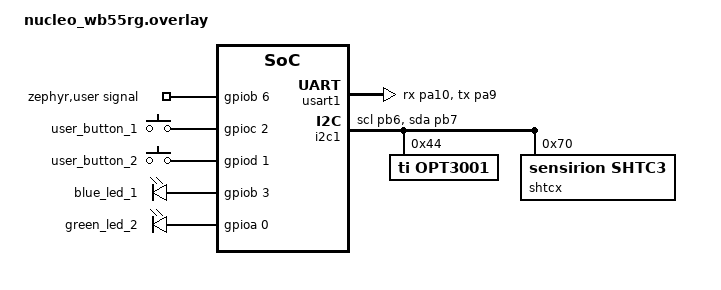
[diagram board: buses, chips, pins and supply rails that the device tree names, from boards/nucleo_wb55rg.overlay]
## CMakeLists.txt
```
#
# Copyright (c) 2023 Nordic Semiconductor ASA
#
# SPDX-License-Identifier: Apache-2.0

cmake_minimum_required(VERSION 3.20.0)

find_package(Zephyr REQUIRED HINTS $ENV{ZEPHYR_BASE})
project(bthome_sensor_demo)

FILE(GLOB app_sources src/*.c)
add_subdirectory(../lib lib)
target_sources(app PRIVATE ${app_sources})
```

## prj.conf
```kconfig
#
# Copyright (c) 2023 Nordic Semiconductor ASA
#
# SPDX-License-Identifier: Apache-2.0
#
CONFIG_BT=y
CONFIG_BT_PERIPHERAL=n
CONFIG_BT_BROADCASTER=y
CONFIG_BT_DEVICE_NAME="BTH iot alarm"
CONFIG_LOG=y

#CONFIG_BT_EXT_ADV=y
#CONFIG_BT_PER_ADV=y

#CONFIG_BT_HCI_ACL_FLOW_CONTROL=y
#CONFIG_BT_EXT_ADV=y
#^ breaks BLE w/ STM32wb55

CONFIG_SENSOR=y
CONFIG_I2C=y
CONFIG_GPIO=y
CONFIG_SENSOR_LOG_LEVEL_DBG=y

#CONFIG_PM_DEVICE=y
CONFIG_PM=y
#CONFIG_PM_DEVICE=y
#CONFIG_PM_DEVICE_RUNTIME=y
#CONFIG_PM_DEVICE_RUNTIME_EXCLUSIVE=n
CONFIG_ASSERT=y
CONFIG_POWEROFF=y

CONFIG_STDOUT_CONSOLE=y
CONFIG_CBPRINTF_FP_SUPPORT=y
```

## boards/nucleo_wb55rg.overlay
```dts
&pinctrl {
    usart1_rx_pa10: usart1_rx_pa10 {
        pinmux = < STM32_PINMUX('A', 10, AF7) >;
    };

    usart1_tx_pa9: usart1_tx_pa9 {
        pinmux = < STM32_PINMUX('A', 9, AF7) >;
    };
};

// usart 1 on PA9 and PA10
&usart1 {
    pinctrl-0 = <&usart1_rx_pa10 &usart1_tx_pa9>;
};

// i2c1 for sht
&i2c1 {
    pinctrl-0 = <&i2c1_scl_pb6 &i2c1_sda_pb7>;
    status = "okay";
    pinctrl-names = "default";
    
	opt3001: opt3001@44 {
		compatible = "ti,opt3001";
		reg = <0x44>;
	};
	shtcx: shtc3@70 {
      compatible = "sensirion,shtc3", "sensirion,shtcx";
      reg = <0x70>;
      measure-mode = "normal";
      clock-stretching;
   };
};

&gpioa {
	status = "okay";
};
&gpiob {
	status = "okay";
};
&gpioc {
	status = "okay";
};
&gpiod {
	status = "okay";
};

/ {
	zephyr,user {
		signal-gpios =  < &gpiob 6 GPIO_ACTIVE_HIGH >; // Test scl
	};

	aliases {
		buzzer = &green_led_2;
		statusled = &blue_led_1;
	};
};

// door 
&user_button_1 {
	gpios = < &gpioc 2 GPIO_ACTIVE_HIGH >; // Door uSwitch
};

&user_button_2 {
	gpios = < &gpiod 1 GPIO_ACTIVE_HIGH >; // CTRL Btn
};

&blue_led_1 {
	gpios = < &gpiob 3 GPIO_ACTIVE_HIGH >; // User LED
};

&green_led_2 {
	gpios = < &gpioa 0 GPIO_ACTIVE_HIGH >; // Buzzer
};
// TODO add VCC ADC...
```

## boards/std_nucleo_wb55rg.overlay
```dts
// i2c1 for sht
&i2c1 {
    pinctrl-0 = <&i2c1_scl_pb6 &i2c1_sda_pb7>;
    status = "okay";
    pinctrl-names = "default";
    
	opt3001: opt3001@44 {
		compatible = "ti,opt3001";
		reg = <0x44>;
	};
	shtcx: shtc3@70 {
      compatible = "sensirion,shtc3", "sensirion,shtcx";
      reg = <0x70>;
      measure-mode = "normal";
      clock-stretching;
   };
};

/ {
	zephyr,user {
		signal-gpios =  < &gpiob 6 GPIO_ACTIVE_HIGH >; // Test scl
	};


	aliases {
		buzzer = &green_led_2;
		statusled = &blue_led_1;
		
		led0 = &green_led_2;
		led1 = &blue_led_1;
		sw0 = &user_button_1;
		sw1 = &user_button_2;
		sw2 = &user_button_3;
		watchdog0 = &iwdg;
		die-temp0 = &die_temp;
		volt-sensor0 = &vref;
		volt-sensor1 = &vbat;
	};
	
};
```

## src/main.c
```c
/*
 * Copyright (c) 2023 Nordic Semiconductor ASA
 *
 * SPDX-License-Identifier: Apache-2.0
 */

#include "zephyr/dt-bindings/gpio/gpio.h"
#include "zephyr/sys/time_units.h"
#include <zephyr/device.h>
#include <zephyr/devicetree.h>
#include <zephyr/drivers/gpio.h>
#include <zephyr/drivers/i2c.h>
#include <zephyr/drivers/sensor.h>
#include <zephyr/kernel.h>

#include <zephyr/bluetooth/bluetooth.h>
#include <zephyr/bluetooth/gap.h>
#include <zephyr/bluetooth/uuid.h>

#include <button.h>
#include <blinker.h>

#include "fsm.h"

/*
 ***************************************************************************
 * Device tree definitions.
 ***************************************************************************
 */

#define SHTC_DEV DT_NODELABEL(shtcx)
#define DOOR DT_ALIAS(sw0)
#define CTRL DT_ALIAS(sw1)
#define STATUSLED DT_ALIAS(statusled)
#define BUZZER DT_ALIAS(buzzer)

// DeviceTree devices
const struct gpio_dt_spec buzzer = GPIO_DT_SPEC_GET(BUZZER, gpios);
const struct gpio_dt_spec led = GPIO_DT_SPEC_GET(STATUSLED, gpios);
const struct gpio_dt_spec door_sw = GPIO_DT_SPEC_GET(DOOR, gpios);
const struct gpio_dt_spec ctrl_sw = GPIO_DT_SPEC_GET(CTRL, gpios);
//const struct device *light = DEVICE_DT_GET(OPT3001_DEV);
const struct device *sht = DEVICE_DT_GET(SHTC_DEV);


/*
 ***************************************************************************
 * Bluetooth BtHome setup.
 * ref: https://bthome.io/format/
 ****************************************************************************
 */
#define SERVICE_DATA_LEN 11 /* 11 bytes of service data */
#define SERVICE_UUID 0xfcd2 /* BTHome service UUID */
#define IDX_TEMPL 4         /* Index of lo byte of temp in service data*/
#define IDX_TEMPH 5         /* Index of hi byte of temp in service data*/
#define IDX_HUMDL 7         /* Index of lo byte of humidity in service data*/
#define IDX_HUMDH 8         /* Index of hi byte of humidity in service data*/
#define IDX_DOOR  10         /* Index of door state */

static uint8_t service_data[SERVICE_DATA_LEN] = {
    BT_UUID_16_ENCODE(SERVICE_UUID),
    0x40,
    0x02, /* Temperature */
    0xc4, /* Low byte */
    0x00, /* High byte */
    0x03, /* Humidity */
    0xbf, /* low byte */
    0x13, /* high byte */
    0x1A, /* Door alarm */
    0x00, /* 0 = closed, 1 = open */
};

static const struct bt_data ad[] = {
    BT_DATA_BYTES(BT_DATA_FLAGS, BT_LE_AD_GENERAL | BT_LE_AD_NO_BREDR),
    BT_DATA(BT_DATA_NAME_COMPLETE, CONFIG_BT_DEVICE_NAME,
            sizeof(CONFIG_BT_DEVICE_NAME) - 1),
   BT_DATA(BT_DATA_SVC_DATA16,
            service_data, ARRAY_SIZE(service_data)),
};

/*
 #define ADV_PARAMS                                                             \
   BT_LE_ADV_PARAM(BT_LE_ADV_OPT_USE_NAME, BT_GAP_ADV_FAST_INT_MIN_2,          \
                    BT_GAP_ADV_FAST_INT_MAX_2, NULL)
*/


#define ADV_PARAMS BT_LE_ADV_PARAM(BT_LE_ADV_OPT_USE_IDENTITY, \
          BT_GAP_ADV_SLOW_INT_MIN, \
          BT_GAP_ADV_SLOW_INT_MAX, NULL)


/*
 ***************************************************************************
 * Contexts for buttons and blinkers.
 ****************************************************************************
 */

struct button_context door_sw_context;	// keep it alive !
struct button_context ctrl_sw_context;	// keep it alive !
struct blinker_context userled_blinker_context;	// keep it alive !
struct blinker_context buzzer_blinker_context;	// keep it alive !
struct blinker_context usertimer_context;	// keep it alive !

/*
 ***************************************************************************
 buttons and blinkers callbacks.
 ****************************************************************************
 */
static void userled_blink_event_handler(enum blinker_evt evt, long)
{
    gpio_pin_set_dt(&led, evt==BLINKER_EVT_ON ? 1 : 0);
}

static void buzzer_event_handler(enum blinker_evt evt, long)
{
    gpio_pin_set_dt(&buzzer, evt==BLINKER_EVT_ON ? 1 : 0);
}

// We use a blinker as a one-shot timer
static void user_timer_event_handler(enum blinker_evt evt, long)
{
    printk("user_timer_event_handler: %d\n", (int)evt);
    if (evt==BLINKER_EVT_OFF)
    {
        FSM_Timer();
    }
}

static void ctrl_button_event_handler(enum button_evt evt, long)
{
    printk("Ctrl Button event: %d\n", (int)evt);
    switch (evt)
    {
        case BUTTON_EVT_PRESSED:
            FSM_UserPress();
            break;
        case BUTTON_EVT_RELEASED:
            FSM_UserRelease();
            break;
    }
}

static void door_button_event_handler(enum button_evt evt, long)
{
    printk("Door Button event: %d\n", (int)evt);
    switch (evt)
    {
        case BUTTON_EVT_PRESSED:
            FSM_DoorClose();
            break;
        case BUTTON_EVT_RELEASED:            
            FSM_DoorOpen();
            break;
    }
}

/*
 ***************************************************************************
 * Bluetooth functions.
 ****************************************************************************
 */

void set_random_bt_address(void)
{
    bt_addr_le_t addr;

    addr.a.val[0] = 0xfd;
    addr.a.val[1] = 0xab;
    addr.a.val[2] = 0x55;
    addr.a.val[3] = 0xa7;
    addr.a.val[4] = 0x28;
    addr.a.val[5] = 0xf9;
    addr.type = BT_ADDR_LE_RANDOM;

	//BT_ADDR_SET_STATIC(&(addr.a));
 
    int err;

    printk("Set address.\n");

    err = bt_id_create(&addr, NULL);    // Change Identity->F9:28:A7:55:AB:FD (random)

    if (err) {
        printk("Error bt_id_create (err %d)\n", err);
    }

    printk("Random address set %d %x:%x:%x:%x:%x:%x\n", addr.type, addr.a.val[0], addr.a.val[1], addr.a.val[2], addr.a.val[3], addr.a.val[4], addr.a.val[5]);
}


/*
 ***************************************************************************
 * Main
 ****************************************************************************
 */
int main(void) {
    bool status_ok;

    printk("Hello !\n");
 
    // ----- Init Buzzer -----
    gpio_pin_configure_dt(&buzzer, GPIO_OUTPUT);

    // ----- Init LED -----
    gpio_pin_configure_dt(&led, GPIO_OUTPUT);

    // ----- Confirm buzzer and led
    gpio_pin_set_dt(&led, 1);
    gpio_pin_set_dt(&buzzer, 1);
    k_msleep(100);
    gpio_pin_set_dt(&buzzer, 0);
    gpio_pin_set_dt(&led, 0);
    k_msleep(100);

    // ----- Init userlink blink -----
    status_ok = blinker_init(
                &userled_blinker_context,
                userled_blink_event_handler,
                0);
    
    status_ok = blinker_init(
                &buzzer_blinker_context,
                buzzer_event_handler,
                0);

    // ----- We use a blinker in a monostable fashion as a timer -----
    status_ok = blinker_init(
                &usertimer_context,
                user_timer_event_handler,
                0);

    // ----- Init button -----
    status_ok = button_init(&door_sw_context,
                        &door_sw,
                        door_button_event_handler,
                        0,
                        0);

    if (!status_ok) {
        printk("Button 1 Init failed\n");
        return -1;
    }

    status_ok = button_init(&ctrl_sw_context,
                        &ctrl_sw,
                        ctrl_button_event_handler,
                        1,
                        GPIO_PULL_DOWN);

    if (!status_ok) {
        printk("Button 2 Init failed.\n");
        return -1;
    }

    // ----- SHT init -----
    if (!device_is_ready(sht)) {
        printk("Device %s is not ready\n", sht->name);

    } else {
        printk("Found device %s. Reading sensor data\n", sht->name);
    }
    
    // ----- BT init -----
    printk("CONFIG_BT_DEVICE_NAME: %s\n", CONFIG_BT_DEVICE_NAME);

    set_random_bt_address();

   	int err = bt_enable(NULL);
    if (err)
    {
        printk("Bluetooth init failed (err %d)\n", err);

        for (int i=0; i<5; ++i)
        {
            gpio_pin_set_dt(&buzzer, 1);
            k_msleep(100);
            gpio_pin_set_dt(&buzzer, 0);
            k_msleep(1000);
        }

        return 0;
    }
    
    printk("Bluetooth init done.\n");

    // ----- State machine init -----
    FSM_Init();

    // init buttons
    button_reset_state(&door_sw_context);
    button_reset_state(&ctrl_sw_context);

    // ----- Main loop -----
    int loop_count = 0;   // Sure to be called the first iteration.
    for (;;)
    {
        /* Get temp & humidity */
        struct sensor_value temp, hum;

        if (loop_count<=0 && device_is_ready(sht))
        {
            int err = sensor_sample_fetch(sht);
            if (err == 0)
            {
                err = sensor_channel_get(sht, SENSOR_CHAN_AMBIENT_TEMP,
                    &temp);
                if (err==0)
                {
                    err = sensor_channel_get(sht, SENSOR_CHAN_HUMIDITY,
                        &hum);
                }
            }
            if (err != 0)
            {
                printf("SHT: failed: %d\n", err);
            }
            else
            {
                double ftemp = sensor_value_to_double(&temp);
                double fhumd = sensor_value_to_double(&hum);
                // printf("SHT: %.2f Cel ; %0.2f %%RH\n", ftemp, fhumd);

                int temp_h = (int)(ftemp * 100) >> 8;
                int temp_l = (int)(ftemp * 100) & 0xff;
                int hum_h = (int)(fhumd * 100) >> 8;
                int hum_l = (int)(fhumd * 100) & 0xff;

                if (service_data[IDX_TEMPH] != temp_h
                    || service_data[IDX_TEMPL] != temp_l
                    || service_data[IDX_HUMDH] != hum_h
                    || service_data[IDX_HUMDL] != hum_l)
                {
                    service_data[IDX_TEMPH] = temp_h;
                    service_data[IDX_TEMPL] = temp_l;

                    service_data[IDX_HUMDH] = hum_h;
                    service_data[IDX_HUMDL] = hum_l;
                }
            }
        }

        /* Get door state */
        int door_open = door_sw_context.pressed == 0 ? 1 : 0;
        bool state_changed = false;
        if (service_data[IDX_DOOR] != door_open)
        {
            service_data[IDX_DOOR] = door_open;
            state_changed = true;
        }
    
        /* Update advertising data */
        if (state_changed || door_open || loop_count <= 0)
        {
            /* Start advertising */
            err = bt_le_adv_start(ADV_PARAMS, ad, ARRAY_SIZE(ad), NULL, 0);
            if (err) {
                printk("Advertising failed to start (err %d)\n", err);
            }

            err = bt_le_adv_update_data(ad, ARRAY_SIZE(ad), NULL, 0);
            if (err)
            {
                printk("Failed to update advertising data (err %d)\n", err);
                for (int i=0; i<20; ++i)
                {
                    gpio_pin_set_dt(&buzzer, 1);
                    k_msleep(100);
                    gpio_pin_set_dt(&buzzer, 0);
                    k_msleep(1000);
                }
            }
            else{
                printk("Advertising data updated\n");
            }
        }

        if (loop_count <= 0)
        {
            // Next forced advertizement in 20 loops, i.e. 20*30 sec = 10 min.
            loop_count = 20;
        }

        k_sleep(K_SECONDS(10));

        /* Stop advertising */
        err = bt_le_adv_stop();
        if (err) {
            printk("Advertising failed to stop (err %d)\n", err);
        }

        k_sleep(K_SECONDS(20));

        // Loop total time is 30 sec.
    }
    return 0;
}

/******** State machine event handlers ********/
// Transition function "prepareWatching"
void FSM_prepareWatching(void)
{
    // Set timer to 30 sec
	// blink rled
	// stop buzzer
	// gled off

    blinker_sequence0(&usertimer_context, 30000);
    blinker_start(&usertimer_context, false);

    blinker_sequence2(&userled_blinker_context, 100, 900);
    blinker_start(&userled_blinker_context, true);

    blinker_stop(&buzzer_blinker_context, false);
}

// Transition function "prepareQuiet"
void FSM_prepareQuiet(void)
{
    // stop buzzer
	// set timer to 30 mn
	// blink green led
	// rled off

    blinker_stop(&buzzer_blinker_context, false);

    blinker_sequence0(&usertimer_context, 30*60*1000);
    blinker_start(&usertimer_context, false);

    blinker_sequence4(&userled_blinker_context, 100, 100, 100, 1500);
    blinker_start(&userled_blinker_context, true);
}

void FSM_userRelease(void)
{
    // Simply disable the power shutdown timer.
//	powerOffTimer.stop();
}

// Transition function "prepareIdle"
void FSM_prepareIdle(void)
{
    // stop buzzer
	// stop timer
	// leds off
	// go to sleep

    blinker_stop(&buzzer_blinker_context, false);
    blinker_stop(&usertimer_context, false);
    blinker_stop(&userled_blinker_context, false);
}

// Transition function "prepareAlarm"
void FSM_prepareAlarm(void)
{
	// stop timer
	// start buzzer
	// gled off
	// rled on

    blinker_stop(&usertimer_context, false);

    blinker_sequence2(&userled_blinker_context, 500, 500);
    blinker_start(&userled_blinker_context, true);

    blinker_sequence2(&buzzer_blinker_context, 500, 500);
    blinker_start(&buzzer_blinker_context, true);
}
```

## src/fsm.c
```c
//****************************************************************************//
//  MSP430 state machine
//  fsm.c
//
//  Description:
//    A simple state machine for the MSP430
//    Do not change code in here!!!
//
//  Generated with Excel Table
//  Date:  07/06/2021        Time:  23:01:00
//
//****************************************************************************//

#include <stdint.h>
#include <stdio.h>
#include "fsm.h"

//****************************************************************************//
// Global variables
//****************************************************************************//
uint8_t ActState;

const FSM_STATE_TABLE StateTable[NR_STATES][NR_EVENTS]={
  // State      Event          Function             Next State
 { {/* IDLE -     DOOROPEN */    FSM_prepareWatching, WATCHING},
  {/* IDLE -     DOORCLOSE */   NULL,                IDLE},
  {/* IDLE -     USERPRESS */   FSM_prepareQuiet,    QUIET},
  {/* IDLE -     USERRELEASE */ FSM_userRelease,    	IDLE},
  {/* IDLE -     TIMER */       NULL,                IDLE}},
  {{/* WATCHING - DOOROPEN */    NULL,                WATCHING},
  {/* WATCHING - DOORCLOSE */   FSM_prepareIdle,     IDLE},
  {/* WATCHING - USERPRESS */   FSM_prepareQuiet,    QUIET},
  {/* WATCHING - USERRELEASE */ FSM_userRelease,    	WATCHING},
  {/* WATCHING - TIMER */       FSM_prepareAlarm,    ALARM}},
  {{/* ALARM -    DOOROPEN */    NULL,                ALARM},
  {/* ALARM -    DOORCLOSE */   FSM_prepareIdle,     IDLE},
  {/* ALARM -    USERPRESS */   FSM_prepareQuiet,    QUIET},
  {/* ALARM -    USERRELEASE */ FSM_userRelease,     ALARM},
  {/* ALARM -    TIMER */       NULL,                ALARM}},
  {{/* QUIET -    DOOROPEN */    NULL,                QUIET},
  {/* QUIET -    DOORCLOSE */   NULL,                QUIET},
  {/* QUIET -    USERPRESS */   FSM_prepareIdle,     IDLE},
  {/* QUIET -    USERRELEASE */ FSM_userRelease, 	QUIET},
  {/* QUIET -    TIMER */       FSM_prepareIdle,     IDLE}}
};

//****************************************************************************//
// Initialize state machine
//****************************************************************************//
void FSM_Init(void)
{
  ActState = IDLE;
}

//****************************************************************************//
// Event function "DoorOpen"
//****************************************************************************//
void FSM_DoorOpen(void)
{
  if (StateTable[ActState][DOOROPEN].ptrFunct != NULL)
    StateTable[ActState][DOOROPEN].ptrFunct();

  ActState = StateTable[ActState][DOOROPEN].NextState;
}

//****************************************************************************//
// Event function "DoorClose"
//****************************************************************************//
void FSM_DoorClose(void)
{
  if (StateTable[ActState][DOORCLOSE].ptrFunct != NULL)
    StateTable[ActState][DOORCLOSE].ptrFunct();

  ActState = StateTable[ActState][DOORCLOSE].NextState;
}

//****************************************************************************//
// Event function "UserPress"
//****************************************************************************//
void FSM_UserPress(void)
{
  if (StateTable[ActState][USERPRESS].ptrFunct != NULL)
    StateTable[ActState][USERPRESS].ptrFunct();

  ActState = StateTable[ActState][USERPRESS].NextState;
}

//****************************************************************************//
// Event function "UserPress"
//****************************************************************************//
void FSM_UserRelease(void)
{
  if (StateTable[ActState][USERRELEASE].ptrFunct != NULL)
    StateTable[ActState][USERRELEASE].ptrFunct();

  ActState = StateTable[ActState][USERRELEASE].NextState;
}

//****************************************************************************//
// Event function "Timer"
//****************************************************************************//
void FSM_Timer(void)
{
  if (StateTable[ActState][TIMER].ptrFunct != NULL)
    StateTable[ActState][TIMER].ptrFunct();

  ActState = StateTable[ActState][TIMER].NextState;
}

//****************************************************************************//
```

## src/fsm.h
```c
//****************************************************************************//
//  Simple alarm state machine
//  fsm.h
//
//  Describtion:
//    A simple state machine for an alarm
//
//  Generated with Excel Table
//  Date:  07/06/2021        Time:  23:01:09
//
//****************************************************************************//

#ifndef FSM_H
#define FSM_H

//****************************************************************************//
// State table typedef
//****************************************************************************//
typedef struct
{
  void (*ptrFunct)(void);
  uint8_t NextState;
} FSM_STATE_TABLE;

extern uint8_t ActState;

#define NR_EVENTS 5
#define DOOROPEN 0
#define DOORCLOSE 1
#define USERPRESS 2
#define USERRELEASE 3
#define TIMER 4

#define NR_STATES 4
#define IDLE 0
#define WATCHING 1
#define ALARM 2
#define QUIET 3

//****************************************************************************//
// Function prototypes
//****************************************************************************//
// Initialize state machine
void FSM_Init(void);

// Event function "DoorOpen"
void FSM_DoorOpen(void);

// Event function "DoorClose"
void FSM_DoorClose(void);

// Event function "UserPress"
void FSM_UserPress(void);

// Event function "UserPress"
void FSM_UserRelease(void);

// Event function "Timer"
void FSM_Timer(void);

// Transition function "prepareWatching"
void FSM_prepareWatching(void);

// Transition function "prepareQuiet"
void FSM_prepareQuiet(void);

void FSM_userRelease(void);

// Transition function "prepareIdle"
void FSM_prepareIdle(void);

// Transition function "prepareAlarm"
void FSM_prepareAlarm(void);

//****************************************************************************//

#endif /* FSM_H */

//****************************************************************************//
```
